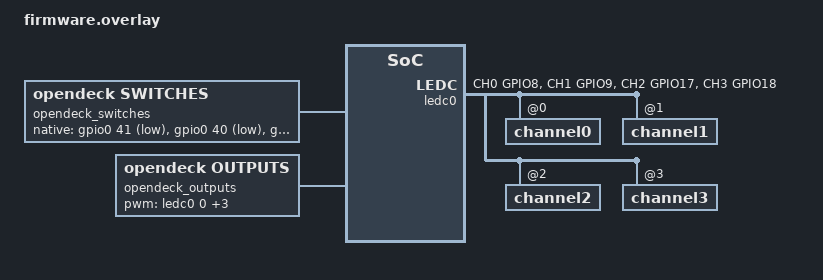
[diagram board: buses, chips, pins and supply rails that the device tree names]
#include <zephyr/dt-bindings/pwm/pwm.h>
#include <zephyr/dt-bindings/pinctrl/esp32s3-pinctrl.h>

/ {
    opendeck_metadata: opendeck-metadata {
        compatible = "opendeck,metadata";
        zephyr-board = "esp32s3_devkitc/esp32s3/procpu";
        board-name = "Metro ESP32-S3 + W5500 Ethernet Shield";
    };

    opendeck_transports: opendeck-transports {
        compatible = "opendeck,transports";
        network;
        usb;
    };

    opendeck_tests: opendeck-tests {
        compatible = "opendeck,tests";
        host;
    };

    opendeck_bulk_build: opendeck-bulk-build {
        compatible = "opendeck,bulk-build";
        app;
    };

    opendeck_switches: opendeck-switches {
        compatible = "opendeck,switches";
        mode = "native";
        native-gpios =
            <&gpio0 41 (GPIO_PULL_UP | GPIO_ACTIVE_LOW)>, /* RX / D0 */
            <&gpio0 40 (GPIO_PULL_UP | GPIO_ACTIVE_LOW)>, /* TX / D1 */
            <&gpio0 3 (GPIO_PULL_UP | GPIO_ACTIVE_LOW)>,  /* D3 */
            <&gpio0 6 (GPIO_PULL_UP | GPIO_ACTIVE_LOW)>,  /* D6 */
            <&gpio0 7 (GPIO_PULL_UP | GPIO_ACTIVE_LOW)>,  /* D7 */
            <&gpio0 14 (GPIO_PULL_UP | GPIO_ACTIVE_LOW)>, /* A0 */
            <&gpio0 15 (GPIO_PULL_UP | GPIO_ACTIVE_LOW)>, /* A1 */
            <&gpio0 16 (GPIO_PULL_UP | GPIO_ACTIVE_LOW)>, /* A2 */
            <&gpio0 1 (GPIO_PULL_UP | GPIO_ACTIVE_LOW)>;  /* A5 */
    };

    opendeck_outputs: opendeck-outputs {
        compatible = "opendeck,outputs";
        mode = "pwm";
        pwms =
            <&ledc0 0 PWM_MSEC(1) PWM_POLARITY_NORMAL>, /* D8 */
            <&ledc0 1 PWM_MSEC(1) PWM_POLARITY_NORMAL>, /* D9 */
            <&ledc0 2 PWM_MSEC(1) PWM_POLARITY_NORMAL>, /* A3 */
            <&ledc0 3 PWM_MSEC(1) PWM_POLARITY_NORMAL>; /* A4 */
    };

    opendeck_i2c: opendeck-i2c {
        compatible = "opendeck,i2c";
        bus = <&opendeck_i2c_bus>;
    };
};

&pinctrl {
    opendeck_ledc0_default: opendeck_ledc0_default {
        group1 {
            pinmux = <LEDC_CH0_GPIO8>,
                     <LEDC_CH1_GPIO9>,
                     <LEDC_CH2_GPIO17>,
                     <LEDC_CH3_GPIO18>;
            output-enable;
        };
    };
};

&ledc0 {
    pinctrl-0 = <&opendeck_ledc0_default>;
    pinctrl-names = "default";
    status = "okay";
    #address-cells = <1>;
    #size-cells = <0>;

    channel0@0 {
        reg = <0>;
        timer = <0>;
    };

    channel1@1 {
        reg = <1>;
        timer = <0>;
    };

    channel2@2 {
        reg = <2>;
        timer = <0>;
    };

    channel3@3 {
        reg = <3>;
        timer = <0>;
    };
};
